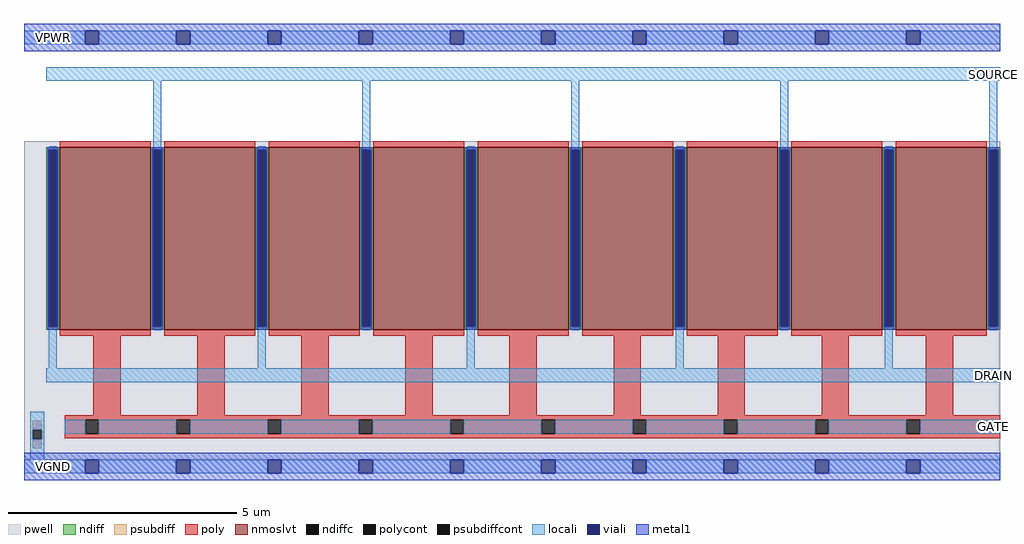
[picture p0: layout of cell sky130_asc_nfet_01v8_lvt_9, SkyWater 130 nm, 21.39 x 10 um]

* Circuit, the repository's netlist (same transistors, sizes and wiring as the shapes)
* NGSPICE file created from sky130_asc_nfet_01v8_lvt_9.ext - technology: sky130A

.subckt sky130_asc_nfet_01v8_lvt_9 GATE SOURCE DRAIN VPWR VGND
X0 SOURCE GATE DRAIN VGND sky130_fd_pr__nfet_01v8_lvt ad=5.8e+12p pd=4.29e+07u as=5.8e+12p ps=4.29e+07u w=4e+06u l=2e+06u
X1 SOURCE GATE DRAIN VGND sky130_fd_pr__nfet_01v8_lvt ad=0p pd=0u as=0p ps=0u w=4e+06u l=2e+06u
X2 DRAIN GATE SOURCE VGND sky130_fd_pr__nfet_01v8_lvt ad=0p pd=0u as=0p ps=0u w=4e+06u l=2e+06u
X3 SOURCE GATE DRAIN VGND sky130_fd_pr__nfet_01v8_lvt ad=0p pd=0u as=0p ps=0u w=4e+06u l=2e+06u
X4 DRAIN GATE SOURCE VGND sky130_fd_pr__nfet_01v8_lvt ad=0p pd=0u as=0p ps=0u w=4e+06u l=2e+06u
X5 SOURCE GATE DRAIN VGND sky130_fd_pr__nfet_01v8_lvt ad=0p pd=0u as=0p ps=0u w=4e+06u l=2e+06u
X6 DRAIN GATE SOURCE VGND sky130_fd_pr__nfet_01v8_lvt ad=0p pd=0u as=0p ps=0u w=4e+06u l=2e+06u
X7 SOURCE GATE DRAIN VGND sky130_fd_pr__nfet_01v8_lvt ad=0p pd=0u as=0p ps=0u w=4e+06u l=2e+06u
X8 DRAIN GATE SOURCE VGND sky130_fd_pr__nfet_01v8_lvt ad=0p pd=0u as=0p ps=0u w=4e+06u l=2e+06u
.ends

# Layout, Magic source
magic
tech sky130A
magscale 1 2
<< pwell >>
rect 90 30 4368 1426
<< nmoslvt >>
rect 246 600 646 1400
rect 704 600 1104 1400
rect 1162 600 1562 1400
rect 1620 600 2020 1400
rect 2078 600 2478 1400
rect 2536 600 2936 1400
rect 2994 600 3394 1400
rect 3452 600 3852 1400
rect 3910 600 4310 1400
<< ndiff >>
rect 188 1388 246 1400
rect 188 612 200 1388
rect 234 612 246 1388
rect 188 600 246 612
rect 646 1388 704 1400
rect 646 612 658 1388
rect 692 612 704 1388
rect 646 600 704 612
rect 1104 1388 1162 1400
rect 1104 612 1116 1388
rect 1150 612 1162 1388
rect 1104 600 1162 612
rect 1562 1388 1620 1400
rect 1562 612 1574 1388
rect 1608 612 1620 1388
rect 1562 600 1620 612
rect 2020 1388 2078 1400
rect 2020 612 2032 1388
rect 2066 612 2078 1388
rect 2020 600 2078 612
rect 2478 1388 2536 1400
rect 2478 612 2490 1388
rect 2524 612 2536 1388
rect 2478 600 2536 612
rect 2936 1388 2994 1400
rect 2936 612 2948 1388
rect 2982 612 2994 1388
rect 2936 600 2994 612
rect 3394 1388 3452 1400
rect 3394 612 3406 1388
rect 3440 612 3452 1388
rect 3394 600 3452 612
rect 3852 1388 3910 1400
rect 3852 612 3864 1388
rect 3898 612 3910 1388
rect 3852 600 3910 612
rect 4310 1388 4368 1400
rect 4310 612 4322 1388
rect 4356 612 4368 1388
rect 4310 600 4368 612
<< ndiffc >>
rect 200 612 234 1388
rect 658 612 692 1388
rect 1116 612 1150 1388
rect 1574 612 1608 1388
rect 2032 612 2066 1388
rect 2490 612 2524 1388
rect 2948 612 2982 1388
rect 3406 612 3440 1388
rect 3864 612 3898 1388
rect 4322 612 4356 1388
<< psubdiff >>
rect 128 160 168 200
rect 128 80 168 120
<< psubdiffcont >>
rect 128 120 168 160
<< poly >>
rect 246 1400 646 1426
rect 704 1400 1104 1426
rect 1162 1400 1562 1426
rect 1620 1400 2020 1426
rect 2078 1400 2478 1426
rect 2536 1400 2936 1426
rect 2994 1400 3394 1426
rect 3452 1400 3852 1426
rect 3910 1400 4310 1426
rect 246 574 646 600
rect 704 574 1104 600
rect 1162 574 1562 600
rect 1620 574 2020 600
rect 2078 574 2478 600
rect 2536 574 2936 600
rect 2994 574 3394 600
rect 3452 574 3852 600
rect 3910 574 4310 600
rect 394 224 514 574
rect 850 224 970 574
rect 1306 224 1426 574
rect 1762 224 1882 574
rect 2218 224 2338 574
rect 2674 224 2794 574
rect 3130 224 3250 574
rect 3586 224 3706 574
rect 4042 224 4162 574
rect 268 204 4368 224
rect 268 144 358 204
rect 418 144 758 204
rect 818 144 1158 204
rect 1218 144 1558 204
rect 1618 144 1958 204
rect 2018 144 2358 204
rect 2418 144 2758 204
rect 2818 144 3158 204
rect 3218 144 3558 204
rect 3618 144 3958 204
rect 4018 144 4368 204
rect 268 124 4368 144
<< polycont >>
rect 358 144 418 204
rect 758 144 818 204
rect 1158 144 1218 204
rect 1558 144 1618 204
rect 1958 144 2018 204
rect 2358 144 2418 204
rect 2758 144 2818 204
rect 3158 144 3218 204
rect 3558 144 3618 204
rect 3958 144 4018 204
<< locali >>
rect 90 1850 358 1910
rect 418 1850 758 1910
rect 818 1850 1158 1910
rect 1218 1850 1558 1910
rect 1618 1850 1958 1910
rect 2018 1850 2358 1910
rect 2418 1850 2758 1910
rect 2818 1850 3158 1910
rect 3218 1850 3558 1910
rect 3618 1850 3958 1910
rect 4018 1850 4368 1910
rect 188 1690 4368 1750
rect 657 1404 691 1690
rect 1573 1404 1607 1690
rect 2489 1404 2523 1690
rect 3405 1404 3439 1690
rect 4321 1404 4355 1690
rect 200 1388 234 1404
rect 199 612 200 654
rect 657 1388 692 1404
rect 657 1386 658 1388
rect 199 596 234 612
rect 1116 1388 1150 1404
rect 658 596 692 612
rect 1115 612 1116 654
rect 1573 1388 1608 1404
rect 1573 1386 1574 1388
rect 1115 596 1150 612
rect 2032 1388 2066 1404
rect 1574 596 1608 612
rect 2031 612 2032 654
rect 2489 1388 2524 1404
rect 2489 1386 2490 1388
rect 2031 596 2066 612
rect 2948 1388 2982 1404
rect 2490 596 2524 612
rect 2947 612 2948 654
rect 3405 1388 3440 1404
rect 3405 1386 3406 1388
rect 2947 596 2982 612
rect 3864 1388 3898 1404
rect 3406 596 3440 612
rect 3863 612 3864 654
rect 4321 1388 4356 1404
rect 4321 1386 4322 1388
rect 3863 596 3898 612
rect 4322 596 4356 612
rect 199 430 233 596
rect 1115 430 1149 596
rect 2031 430 2065 596
rect 2947 430 2981 596
rect 3863 430 3897 596
rect 188 370 4368 430
rect 118 160 178 240
rect 118 120 128 160
rect 168 120 178 160
rect 268 144 358 204
rect 418 144 758 204
rect 818 144 1158 204
rect 1218 144 1558 204
rect 1618 144 1958 204
rect 2018 144 2358 204
rect 2418 144 2758 204
rect 2818 144 3158 204
rect 3218 144 3558 204
rect 3618 144 3958 204
rect 4018 144 4368 204
rect 118 30 178 120
rect 90 -30 358 30
rect 418 -30 758 30
rect 818 -30 1158 30
rect 1218 -30 1558 30
rect 1618 -30 1958 30
rect 2018 -30 2358 30
rect 2418 -30 2758 30
rect 2818 -30 3158 30
rect 3218 -30 3558 30
rect 3618 -30 3958 30
rect 4018 -30 4368 30
<< viali >>
rect 358 1850 418 1910
rect 758 1850 818 1910
rect 1158 1850 1218 1910
rect 1558 1850 1618 1910
rect 1958 1850 2018 1910
rect 2358 1850 2418 1910
rect 2758 1850 2818 1910
rect 3158 1850 3218 1910
rect 3558 1850 3618 1910
rect 3958 1850 4018 1910
rect 200 612 234 1388
rect 658 612 692 1388
rect 1116 612 1150 1388
rect 1574 612 1608 1388
rect 2032 612 2066 1388
rect 2490 612 2524 1388
rect 2948 612 2982 1388
rect 3406 612 3440 1388
rect 3864 612 3898 1388
rect 4322 612 4356 1388
rect 358 -30 418 30
rect 758 -30 818 30
rect 1158 -30 1218 30
rect 1558 -30 1618 30
rect 1958 -30 2018 30
rect 2358 -30 2418 30
rect 2758 -30 2818 30
rect 3158 -30 3218 30
rect 3558 -30 3618 30
rect 3958 -30 4018 30
<< metal1 >>
rect 90 1910 4368 1940
rect 90 1850 358 1910
rect 418 1850 758 1910
rect 818 1850 1158 1910
rect 1218 1850 1558 1910
rect 1618 1850 1958 1910
rect 2018 1850 2358 1910
rect 2418 1850 2758 1910
rect 2818 1850 3158 1910
rect 3218 1850 3558 1910
rect 3618 1850 3958 1910
rect 4018 1850 4368 1910
rect 90 1820 4368 1850
rect 194 1388 240 1400
rect 194 612 200 1388
rect 234 612 240 1388
rect 194 600 240 612
rect 652 1388 698 1400
rect 652 612 658 1388
rect 692 612 698 1388
rect 652 600 698 612
rect 1110 1388 1156 1400
rect 1110 612 1116 1388
rect 1150 612 1156 1388
rect 1110 600 1156 612
rect 1568 1388 1614 1400
rect 1568 612 1574 1388
rect 1608 612 1614 1388
rect 1568 600 1614 612
rect 2026 1388 2072 1400
rect 2026 612 2032 1388
rect 2066 612 2072 1388
rect 2026 600 2072 612
rect 2484 1388 2530 1400
rect 2484 612 2490 1388
rect 2524 612 2530 1388
rect 2484 600 2530 612
rect 2942 1388 2988 1400
rect 2942 612 2948 1388
rect 2982 612 2988 1388
rect 2942 600 2988 612
rect 3400 1388 3446 1400
rect 3400 612 3406 1388
rect 3440 612 3446 1388
rect 3400 600 3446 612
rect 3858 1388 3904 1400
rect 3858 612 3864 1388
rect 3898 612 3904 1388
rect 3858 600 3904 612
rect 4316 1388 4362 1400
rect 4316 612 4322 1388
rect 4356 612 4362 1388
rect 4316 600 4362 612
rect 90 30 4368 60
rect 90 -30 358 30
rect 418 -30 758 30
rect 818 -30 1158 30
rect 1218 -30 1558 30
rect 1618 -30 1958 30
rect 2018 -30 2358 30
rect 2418 -30 2758 30
rect 2818 -30 3158 30
rect 3218 -30 3558 30
rect 3618 -30 3958 30
rect 4018 -30 4368 30
rect 90 -60 4368 -30
<< labels >>
flabel metal1 188 1850 248 1910 1 FreeSans 800 0 0 0 VPWR
port 4 n power bidirectional
flabel metal1 188 -30 248 30 1 FreeSans 800 0 0 0 VGND
port 5 n ground bidirectional
flabel locali 4308 1690 4368 1750 1 FreeSans 800 0 0 0 SOURCE
port 2 n default bidirectional
flabel locali 4308 370 4368 430 1 FreeSans 800 0 0 0 DRAIN
port 3 n default bidirectional
flabel locali 4308 144 4368 204 1 FreeSans 800 0 0 0 GATE
port 1 n default bidirectional
<< properties >>
string FIXED_BBOX 0 0 4500 1880
string LEFclass CORE
string LEFsite unitasc
<< end >>
